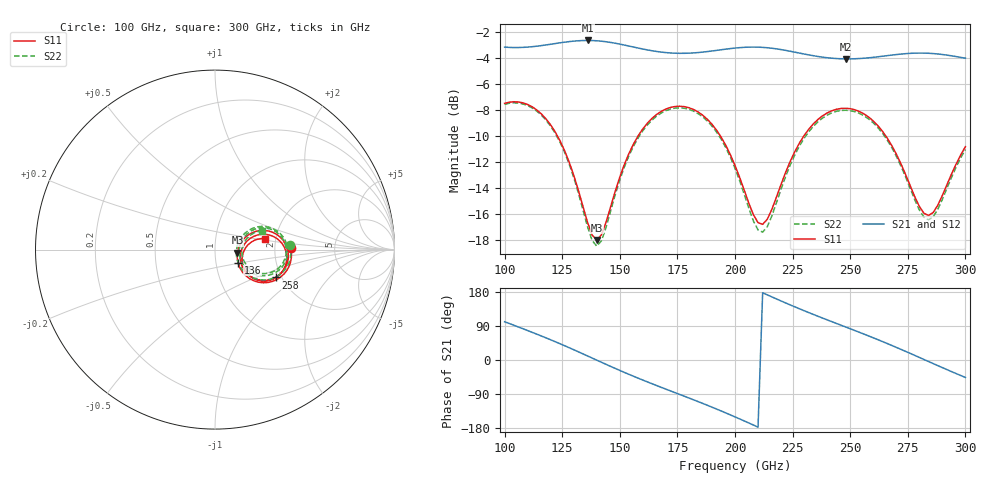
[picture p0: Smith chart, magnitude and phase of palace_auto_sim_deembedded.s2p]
! Created with skrf 1.11.0 (http://scikit-rf.org).
# GHz S DB R 50.0
!freq dBS11 angS11 dBS21 angS21 dBS12 angS12 dBS22 angS22
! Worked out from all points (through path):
!   101 points, 100 GHz to 300 GHz, reference 50 ohm
!   highest |S21| = -2.66 dB at 136 GHz (marker M1); lowest = -4.1 dB at 248 GHz (marker M2)
!   group delay of S21, straight-line fit = 7.03 ps
!   lowest |S11| = -18.0 dB at 140 GHz (marker M3), VSWR 1.29, Z = 64.2 - j2.22 ohm
!   |S11| at or under -10 dB: 122.9 GHz to 158 GHz (35.06 GHz wide, 25 % of centre); 193.6 GHz to 229.9 GHz (36.28 GHz wide, 17.1 % of centre); 265.4 GHz to end of sweep
!   |S22| runs from -18.5 to -7.5 dB; largest |S21 - S12| = 8e-14
!   S11 on the Smith chart (normalised r, x): 100 GHz: 2.46, +0.04; 136 GHz: 1.28, -0.19; 258 GHz: 1.87, -0.67; 300 GHz: 1.76, +0.23
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100  -7.50 1.0  -3.18 101.0  -3.18 101.0  -7.58 3.7
110  -7.59 -15.8  -3.17 77.7  -3.17 77.7  -7.67 -13.0
118  -8.70 -28.7  -3.01 58.3  -3.01 58.3  -8.79 -25.8
126  -11.12 -38.8  -2.80 37.8  -2.80 37.8  -11.24 -36.0
134  -15.42 -35.9  -2.67 16.2  -2.67 16.2  -15.68 -33.4
136  -16.65 -29.7  -2.66 10.6  -2.66 10.6  -16.98 -27.1
140  -18.00 -7.8  -2.69 -0.4  -2.69 -0.4  -18.47 -4.0
154  -11.34 23.0  -3.10 -37.9  -3.10 -37.9  -11.51 28.4
168  -8.11 4.9  -3.56 -72.2  -3.56 -72.2  -8.24 10.1
184  -8.16 -20.1  -3.59 -109.8  -3.59 -109.8  -8.29 -14.9
192  -9.56 -31.2  -3.43 -129.4  -3.43 -129.4  -9.71 -26.1
200  -12.27 -37.2  -3.25 -150.1  -3.25 -150.1  -12.49 -32.4
208  -16.06 -24.6  -3.17 -171.7  -3.17 -171.7  -16.54 -19.7
212  -16.80 -6.5  -3.20 177.4  -3.20 177.4  -17.39 -0.2
224  -11.95 18.9  -3.50 145.3  -3.50 145.3  -12.22 27.2
234  -9.08 9.9  -3.84 120.3  -3.84 120.3  -9.26 18.0
248  -7.88 -10.1  -4.08 87.2  -4.08 87.2  -8.03 -2.0
258  -8.55 -24.5  -4.00 63.5  -4.00 63.5  -8.70 -16.5
268  -10.73 -35.6  -3.79 38.6  -3.79 38.6  -10.89 -27.6
276  -13.81 -34.6  -3.66 17.6  -3.66 17.6  -14.02 -26.8
284  -16.12 -11.0  -3.65 -4.0  -3.65 -4.0  -16.45 -2.6
300  -10.83 12.2  -4.03 -46.1  -4.03 -46.1  -11.04 21.6
